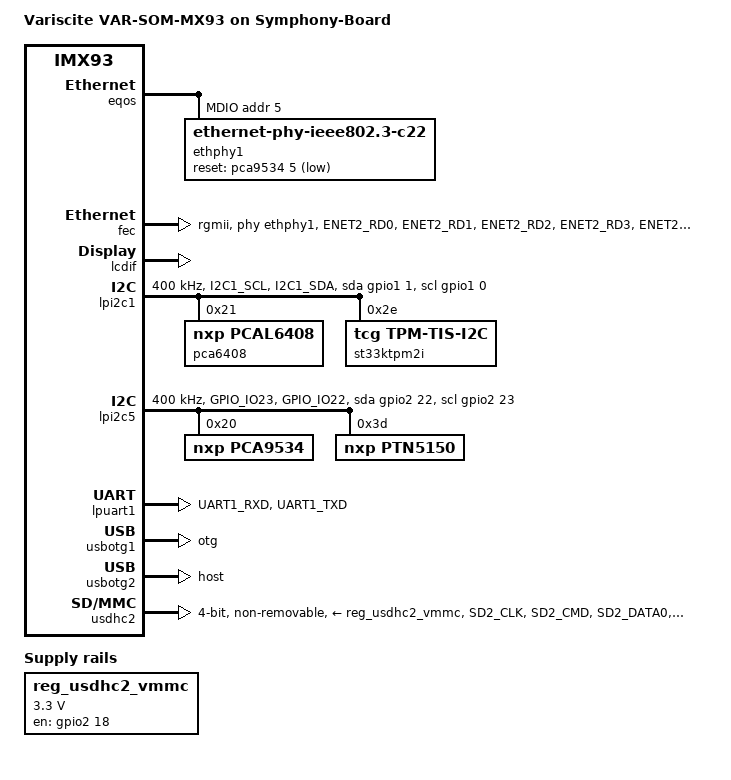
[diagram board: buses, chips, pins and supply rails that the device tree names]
// SPDX-License-Identifier: (GPL-2.0+ OR MIT)
// ^^^^^^^^^^^^^^^^^^^^^^^^^^^^^^^^^^^^^^^^^^^^
// This is a SPDX (Software Package Data Exchange) license identifier.
// It's a machine-readable shorthand telling tools and lawyers:
//   "This file is dual-licensed under GPL-2.0+ OR MIT"
// It's NOT C code - it's a comment used by license scanners (e.g., REUSE, FOSSology).
// In DTS files (like in C), // means single-line comment.

// .dtsi (Device Tree Source Include)
//The "i" stands for Include. These files describe the common, 
// immutable hardware blocks that are shared across many different designs.
// Who writes it: Usually the silicon vendor (like NXP or TI) or the System-on-Module (SoM) manufacturer.
// What it contains: The internal architecture of a System-on-Chip (SoC). 
// It maps out the CPU cores, the base memory addresses, the internal interrupt controllers, 
// and all the built-in peripheral controllers (I2C, SPI, UART, GPIO banks).
// tate: By default, external-facing peripherals inside a .dtsi are usually marked with status = "disabled";
// because the SoC manufacturer doesn't know if your specific board will actually wire anything up to those pins.

// .dts: (Device Tree Source)
// This is the top-level file. It represents the final, physical board sitting on your desk.
// Who writes it: The hardware board designer or the embedded software engineer bringing up the custom carrier board.
// State: It overrides the .dtsi nodes, flipping the required peripherals to status = "okay";.


/*
 * Copyright 2021 NXP
 * Copyright 2023-2025 Variscite Ltd.
 */
// This is a block comment, just like in C: /* ... */
// It says who wrote (and legally owns) this file.
// NXP wrote the base platform DTS; Variscite extended it for their SOM + Symphony board.

/dts-v1/;
// ^^^^^^^^
// DTS MAGIC HEADER. This tells the Device Tree Compiler (dtc) that this file uses
// Device Tree Source format version 1.
// Think of it like a #pragma or file-format signature at the top of a C file.
// Without this, dtc refuses to compile the file.
// The semicolon at the end is REQUIRED — DTS is semicolon-terminated like C statements.

#include "imx93-var-som.dtsi"
// ^^^^^^^^^^^^^^^^^^^^^^^^^^^^
// Just like #include in C, this pulls in another file at this exact location.
// The .dtsi extension = "Device Tree Source Include" (like a .h header file in C).
// "imx93-var-som.dtsi" defines all the hardware that lives ON the SOM itself
// (the Variscite module): CPU, RAM, eMMC, Wi-Fi, PMIC, etc.
// This file EXTENDS that by adding what's on the Symphony carrier BOARD.
// This is the "board file" — it adds connectors, extra Ethernet, USB, SD card, etc.

/ {
// ^
// This opens the ROOT NODE of the device tree.
// In DTS syntax, nodes are written like structs in C: name { properties; child-nodes; }
// The "/" node is the top of the tree — everything else is a child of this.
// Think of it like the "main()" of the device tree — it's the entry point.

	model = "Variscite VAR-SOM-MX93 on Symphony-Board";
	// ^^^^^^^^^^^^^^^^^^^^^^^^^^^^^^^^^^^^^^^^^^^^^^^^^^
	// "model" is a standard DT property (key = value).
	// The "=" assigns a string value (in quotes) to the property name.
	// The semicolon ends this statement — just like in C.
	// This human-readable string shows up in: /proc/device-tree/model on the running Linux system.
	// It's how you know which board you're running on at runtime.
	// It has NO effect on hardware — it's purely informational / for logging.

	aliases {
	// ^^^^^^^
	// The "aliases" node is a STANDARD device tree node (defined by the DT spec).
	// It allows giving short names to other nodes in the tree.
	// Think of it like a #define or a pointer shortcut in C.

		ethernet1 = &fec;
		// ^^^^^^^^^^^^^^^^
		// This creates an alias: the name "ethernet1" now refers to the node &fec.
		//
		// THE & OPERATOR — super important to understand:
		// In C, & means "address of" (gives you a pointer to a variable).
		// In DTS, & means "reference to a node by its label".
		//
		// "fec" is a LABEL defined somewhere in the include files (imx93-var-som.dtsi
		// or NXP's SoC DTS). A label looks like:   fec: ethernet@... { ... };
		// The &fec here is a PHANDLE — a numeric reference to that node.
		// The kernel resolves this at boot time to find the actual hardware node.
		//
		// Why "ethernet1"? Because ethernet0 is already the eQOS controller
		// (on the SOM). This second Ethernet (FEC controller) becomes eth1 in Linux.
		// The kernel uses aliases[] to name network interfaces eth0, eth1, etc.
	};

	chosen {
	// ^^^^^^^
	// Another standard DT node. "chosen" passes information FROM the bootloader
	// (U-Boot) TO the Linux kernel at boot time.
	// It's like argv[] in C main() — passing arguments to the program being launched.

		stdout-path = &lpuart1;
		// ^^^^^^^^^^^^^^^^^^^^^^
		// Tells the kernel: "send your early boot console output to lpuart1".
		// lpuart1 = Low Power UART 1 on the i.MX93. This is the debug serial port
		// (what you see on the USB-to-serial connector of the Symphony board).
		// &lpuart1 is again a phandle — a reference to the lpuart1 node elsewhere.
		// Without this, the kernel won't print anything during boot.
		// In C terms: this is like setting stdout = uart1_file_handle;
	};

	reg_usdhc2_vmmc: regulator-usdhc2 {
	// ^^^^^^^^^^^^^^^^^^^^^^^^^^^^^^^^^^^
	// This defines a NEW node for a "fixed voltage regulator".
	// Breaking down the syntax:
	//   reg_usdhc2_vmmc   = the LABEL for this node (used with & elsewhere)
	//   :                  = separates label from node name (DTS syntax)
	//   regulator-usdhc2  = the NODE NAME (must match the compatible string pattern)
	//   { ... }           = the node's body, containing properties
	//
	// A "regulator" in Linux/DT means a voltage rail — a power supply rail.
	// This one controls the 3.3V supply to the SD card slot (USDHC2 = SD card controller 2).
	// In hardware: it's a GPIO-controlled power switch (a transistor or load switch).
	// When GPIO is asserted HIGH, the SD card gets 3.3V. When LOW, card is powered off.

		compatible = "regulator-fixed";
		// ^^^^^^^^^^^^^^^^^^^^^^^^^^^^^^^
		// "compatible" is THE most important DT property.
		// It tells the kernel WHICH DRIVER to bind to this node.
		// The kernel searches its driver table for a driver that matches this string.
		// "regulator-fixed" = a built-in Linux driver for simple fixed-voltage regulators
		// controlled by a GPIO.
		// In C terms: think of compatible as the "class name" for polymorphism —
		// it determines which vtable (set of function pointers) gets used.

		pinctrl-names = "default";
		// ^^^^^^^^^^^^^^^^^^^^^^^^^^
		// This names the pin control states for this node.
		// "default" = the state used during normal operation.
		// This is a STRING ARRAY (list of strings). Here there's only one state.
		// Other nodes might have: "default", "sleep", "gpio" — three states.
		// Each named state maps to a pinctrl-N property below.

		pinctrl-0 = <&pinctrl_reg_usdhc2_vmmc>;
		// ^^^^^^^^^^^^^^^^^^^^^^^^^^^^^^^^^^^^^^^
		// pinctrl-0 corresponds to pinctrl-names[0] = "default".
		// The value <&pinctrl_reg_usdhc2_vmmc> is a PHANDLE CELL.
		//
		// THE < > SYNTAX:
		// In DTS, < > creates a "cell array" — a list of 32-bit integers.
		// <5> = a single integer 5.
		// <1 2 3> = three integers.
		// <&foo> = a phandle (reference to another node, resolved to a number).
		//
		// So <&pinctrl_reg_usdhc2_vmmc> means:
		// "store the phandle integer of the pinctrl_reg_usdhc2_vmmc node here"
		// At boot, the pinctrl driver reads this and configures the GPIO18 pin
		// (as defined in the pinctrl_reg_usdhc2_vmmc group further down in this file).
		// The dtc compiler looks at the pinctrl_reg_usdhc2_vmmc node,
		// assigns it a random unique ID (phandle, pointer handle) (e.g., 0x0000004A), 
		// and replaces your syntax so the compiled binary essentially reads:pinctrl-0 = <0x0000004A>;
		// Here is how the kernel bridges the gap between the phandle and the physical hardware during boot:
		// The Link: the regulator driver sees pinctrl-0 = <0x0000004A>.
        // The Lookup: The kernel searches its internal Device Tree database for node 0x0000004A.
        // The Data Extraction: It finds the node and reads the data inside it, which translates to: 
		// "We need to configure GPIO18."
        // The Hardware Action: The kernel's pin controller driver takes that data, 
		// calculates the actual physical silicon address for GPIO18 (e.g., 0x30200000), 
		// and writes a binary value (like 0x5) directly into that SoC register to change the pin's electrical state.


		regulator-name = "VSD_3V3";
		// ^^^^^^^^^^^^^^^^^^^^^^^^^^^
		// Human-readable name for this regulator.
		// Shows up in: /sys/class/regulator/*/name on the running system.
		// "VSD" = Voltage SD. "3V3" = 3.3 Volts. Pure informational.

		regulator-min-microvolt = <3300000>;
		// ^^^^^^^^^^^^^^^^^^^^^^^^^^^^^^^^^^^
		// Minimum voltage this regulator can supply, in MICROVOLTS.
		// 3300000 µV = 3.3V.
		// For a fixed regulator, min == max (it can only do one voltage).
		// The < > again wraps a 32-bit integer cell.

		regulator-max-microvolt = <3300000>;
		// Same as above. max == min = 3.3V. Fixed. No adjustment possible.

		gpio = <&gpio2 18 GPIO_ACTIVE_HIGH>;
		// ^^^^^^^^^^^^^^^^^^^^^^^^^^^^^^^^^^^
		// This specifies WHICH GPIO pin controls this regulator's enable signal.
		// The < > contains THREE values (a tuple):
		//   &gpio2            = phandle to the GPIO controller node (GPIO bank 2)
		//   18                = pin number within that GPIO bank (GPIO2_IO18)
		//   GPIO_ACTIVE_HIGH  = polarity — assert the pin HIGH to enable the regulator
		//
		// GPIO_ACTIVE_HIGH is a MACRO (defined in <dt-bindings/gpio/gpio.h>).
		// It expands to the integer 0.
		// GPIO_ACTIVE_LOW would be 1.
		// So in raw integers: <&gpio2 18 0> means the same thing.
		// When the regulator driver wants to turn on the SD card power,
		// it calls gpio_set_value(GPIO2_IO18, 1) — drives the pin HIGH.

		startup-delay-us = <10000>;
		// ^^^^^^^^^^^^^^^^^^^^^^^^^
		// After the GPIO is asserted, wait this many MICROSECONDS before
		// telling the kernel the regulator is stable/ready.
		// 10000 µs = 10 ms. This gives the voltage rail time to rise and settle.
		// Capacitors on the board need time to charge up to 3.3V.
		// If you skip this, the SD card might get probed before power is stable → errors.

		enable-active-high;
		// ^^^^^^^^^^^^^^^^^^
		// This is a BOOLEAN PROPERTY — it has no value, just presence means TRUE.
		// In DTS, a property with no = value is boolean (like a flag or a #define).
		// "enable-active-high" = driving the GPIO HIGH enables the regulator.
		// This works together with the GPIO_ACTIVE_HIGH above.
		// In C: it's like #define ENABLE_ACTIVE_HIGH  (defined vs undefined).
	};
};
// ^ closes the root node /{ }

&eqos {
// ^^^^^^
// THE & OPERATOR AGAIN — this time used at the TOP LEVEL to MODIFY an existing node.
// &eqos means: "find the node with label 'eqos' (defined in the included .dtsi files)
// and ADD or OVERRIDE properties in it."
//
// eQOS = Ethernet Quality of Service — this is the FIRST Ethernet controller
// on the i.MX93, which lives on the SOM itself (connected to the SOM's PHY).
// We're reaching INTO the existing node to add the second PHY definition.
//
// In C terms: it's like having a struct defined in a header, and then in your .c file
// you initialize some fields you left unset: my_struct.new_field = value;
// You're not redefining the struct — you're augmenting it.

	mdio {
	// ^^^^^
	// "mdio" is a CHILD NODE of eqos.
	// MDIO = Management Data Input/Output — a serial bus used to configure
	// Ethernet PHY chips (the physical layer transceivers).
	// Think of MDIO as I2C but for Ethernet PHYs — it has a clock and data line.
	// The mdio node is the bus; the ethernet-phy node below is a device on that bus.

		ethphy1: ethernet-phy@5 {
		// ^^^^^^^^^^^^^^^^^^^^^^^^^
		// ethphy1    = LABEL (used with &ethphy1 elsewhere)
		// ethernet-phy = node name (generic DT name for PHY nodes)
		// @5         = UNIT ADDRESS — the PHY's address on the MDIO bus (0-31)
		// So this PHY responds at MDIO address 5.
		// In C: it's like naming a struct at a specific memory address.
		// The "@addr" convention appears on ALL addressable DT nodes.

			compatible = "ethernet-phy-ieee802.3-c22";
			// ^^^^^^^^^^^^^^^^^^^^^^^^^^^^^^^^^^^^^^^^^
			// This PHY is IEEE 802.3 clause 22 compliant.
			// Clause 22 = the original 1000BASE-T PHY register map (32 registers, 16-bit).
			// Tells the kernel to use the generic PHY driver (phy-generic.c).
			// Some PHYs use clause 45 (10G+); those have a different compatible string.

			device_type = "ethernet-phy";
			// ^^^^^^^^^^^^^^^^^^^^^^^^^^^^^
			// Legacy property (older DTs used device_type extensively).
			// Tells the kernel this is an Ethernet PHY. Mostly redundant now
			// since compatible already tells you, but some drivers still check it.

			reg = <5>;
			// ^^^^^^^^^
			// reg = the ADDRESS of this device on its parent bus.
			// For MDIO: this is the PHY address (0–31). Here it's 5.
			// This MUST match the @5 in the node name above. If they don't match,
			// dtc will warn you.
			// For memory-mapped peripherals, reg = <base_address size>.
			// For I2C: reg = <i2c_7bit_address>.
			// The meaning depends on the parent bus type.

			at803x,eee-disabled;
			// ^^^^^^^^^^^^^^^^^^^^
			// Vendor-specific boolean property for the AT803x PHY family.
			// "eee-disabled" = disable Energy Efficient Ethernet (EEE / IEEE 802.3az).
			// EEE lets the PHY go into low-power mode during idle periods.
			// It's disabled here — possibly due to interoperability issues.
			// The "at803x," prefix is a vendor namespace (Atheros/QCA makes AT803x chips).
			// Wait — but the PHY below is MxL8611x... The at803x properties might be
			// present for compatibility or because this PHY also accepts those properties.

			eee-broken-1000t;
			// ^^^^^^^^^^^^^^^^^
			// Boolean property. Tells the kernel: "EEE doesn't work correctly at 1Gbit/s
			// on this PHY." The kernel will disable EEE negotiation for 1000BASE-T.
			// These "broken" flags are common for PHYs with silicon bugs or
			// non-standard behavior. Better to document in DT than hardcode in driver.

			reset-gpios = <&pca9534 5 GPIO_ACTIVE_LOW>;
			// ^^^^^^^^^^^^^^^^^^^^^^^^^^^^^^^^^^^^^^^^^^^
			// Specifies the GPIO that controls the PHY's hardware reset pin.
			// Tuple of THREE values (same pattern as the regulator gpio above):
			//   &pca9534       = phandle to PCA9534 — an I2C GPIO expander chip
			//                    (it gives you 8 extra GPIO pins over I2C)
			//   5              = pin 5 of the PCA9534
			//   GPIO_ACTIVE_LOW = drive LOW to assert reset (reset = active low)
			//
			// GPIO_ACTIVE_LOW = 1 (the macro value).
			// So this says: "to reset the PHY, drive PCA9534 pin 5 LOW."
			// The PHY datasheet says its nRESET pin is active-low (requires a logic 0
			// to trigger reset), hence GPIO_ACTIVE_LOW.

			reset-assert-us = <15000>;
			// ^^^^^^^^^^^^^^^^^^^^^^^^
			// Hold the reset signal asserted (LOW) for at least 15000 µs = 15 ms.
			// This is the minimum reset pulse width from the PHY datasheet.
			// The Linux PHY reset framework uses this to know how long to hold reset.

			reset-deassert-us = <100000>;
			// ^^^^^^^^^^^^^^^^^^^^^^^^^^
			// After releasing reset (driving HIGH), wait 100000 µs = 100 ms
			// before trying to communicate with the PHY over MDIO.
			// This is the PHY's "reset recovery time" — it needs time to initialize
			// its internal state machine after coming out of reset.

			mxl-8611x,led0_cfg = <(
			// ^^^^^^^^^^^^^^^^^^^^^
			// Vendor-specific property for the MaxLinear MxL8611x PHY.
			// "mxl-8611x," = vendor namespace (MaxLinear).
			// "led0_cfg" = configuration for LED pin 0 on the PHY.
			// The value is a 32-bit integer built by ORing flags together.
			//
			// THE ( ) INSIDE < >:
			// In DTS, you can write arithmetic expressions inside <( )>.
			// The ( ) tells the compiler: "evaluate this expression as a single integer."
			// The | operator is BITWISE OR — same as in C.
			// So <(A | B | C)> means: compute A|B|C and store as one 32-bit cell.

				MXL8611X_LEDX_CFG_LINK_UP_RX_ACT_ON |
				// ^^^^^^^^^^^^^^^^^^^^^^^^^^^^^^^^^^^^
				// Macro defined in a DT bindings header file.
				// Meaning: "turn LED0 ON when there is RX activity (receiving data)"
				// These macros are defined in:
				//   include/dt-bindings/net/mxl-8611x.h
				// They are just integer constants with specific bit positions.

				MXL8611X_LEDX_CFG_LINK_UP_TX_ACT_ON |
				// Meaning: "turn LED0 ON when there is TX activity (transmitting data)"

				MXL8611X_LEDX_CFG_TRAFFIC_ACT_BLINK_IND
				// Meaning: "blink LED0 to indicate traffic activity"
				// Combined: LED0 = activity LED (blinks on TX/RX traffic)
			)>;
			// )> closes the expression and the cell list.

			mxl-8611x,led1_cfg = <(
				MXL8611X_LEDX_CFG_LINK_UP_10MB_ON |
				// LED1 ON when link is up at 10 Mbit/s
				MXL8611X_LEDX_CFG_LINK_UP_100MB_ON |
				// LED1 ON when link is up at 100 Mbit/s
				MXL8611X_LEDX_CFG_LINK_UP_1GB_ON
				// LED1 ON when link is up at 1 Gbit/s
				// Combined: LED1 = link LED (solid when ANY speed link is up)
			)>;
		};
	};
};

&fec {
// ^^^^^
// Augmenting the FEC (Fast Ethernet Controller) node.
// FEC = the SECOND Ethernet controller on i.MX93 (legacy name from older i.MX chips).
// This becomes eth1 in Linux (eth0 is eQOS).
// The actual node is defined in the NXP SoC DTS file (imx93.dtsi).
// Here we're configuring it for the Symphony board's second Ethernet port.

	pinctrl-names = "default";
	// Only one pin state needed for Ethernet.

	pinctrl-0 = <&pinctrl_fec>;
	// Reference to the pinctrl group defined below in the &iomuxc section.
	// This tells the pinctrl driver: "configure these pins when FEC is active."

	phy-mode = "rgmii";
	// ^^^^^^^^^^^^^^^^^
	// How the MAC (Media Access Controller) connects to the PHY chip.
	// "rgmii" = Reduced Gigabit Media Independent Interface.
	// RGMII uses 4-bit data buses (instead of MII's 8-bit) and is clocked at 125MHz
	// for Gigabit. The i.MX93 FEC <-> MxL8611x PHY are wired as RGMII.
	// Other options: "mii", "rmii", "sgmii", "2500base-x", etc.

	phy-handle = <&ethphy1>;
	// ^^^^^^^^^^^^^^^^^^^^^^
	// Links the MAC (FEC controller) to its PHY (ethphy1 defined above in eqos mdio).
	// &ethphy1 = phandle to the ethernet-phy@5 node.
	// Wait — why is the PHY under eqos mdio but the FEC is using it?
	// On i.MX93, the MDIO bus is physically part of the eQOS controller block,
	// but the MDIO bus can be shared — fec uses eqos's MDIO to reach ethphy1.
	// The phy-handle links them logically.

	status = "okay";
	// ^^^^^^^^^^^^^^
	// THE MOST IMPORTANT BOOLEAN-LIKE PROPERTY in DTS.
	// status = "okay"    → enable this peripheral (tell kernel to use it)
	// status = "disabled" → disable it (kernel ignores it, no driver bound)
	//
	// In the SoC DTS (NXP's file), most peripherals are set to "disabled" by default.
	// Board files (like this one) set status = "okay" for the ones they actually use.
	// It's like a master switch. If you forget this, the peripheral won't work
	// even if everything else is configured correctly.
};

&iomuxc {
// ^^^^^^^^
// IOMUXC = I/O Multiplexer Controller — the pin mux hardware on i.MX93.
// Every physical pin on the SoC can be configured as one of many functions
// (GPIO, UART, I2C, SPI, Ethernet, USB, etc.) — this is called pin multiplexing.
// The IOMUXC block controls which function each pin has AND its electrical properties
// (pull-up/down, drive strength, slew rate, Schmitt trigger, etc.).
//
// We're augmenting the iomuxc node to add our board-specific pin groups.

	pinctrl_fec: fecgrp {
	// ^^^^^^^^^^^^^^^^^^^
	// pinctrl_fec = label (used with &pinctrl_fec)
	// fecgrp      = node name (arbitrary, but convention is <name>grp)
	// This defines a PIN GROUP — a set of pins and their configurations
	// that are applied together as a unit.

		fsl,pins = <
		// ^^^^^^^^^
		// "fsl,pins" = Freescale (NXP) vendor property for pin configuration.
		// The < > contains pairs of values for each pin:
		//   MACRO   CONFIG_VALUE
		// Each pin takes TWO 32-bit integers = a 64-bit entry.
		// So the entire list is N*2 cells.

			MX93_PAD_ENET2_RD0__ENET1_RGMII_RD0		0x57e
			// ^^^^^^^^^^^^^^^^^^^^^^^^^^^^^^^^^^^^^^^^^^^^^^^^^^
			// LEFT SIDE: MX93_PAD_ENET2_RD0__ENET1_RGMII_RD0
			// This is a MACRO from NXP's header file:
			//   arch/arm64/boot/dts/freescale/imx93-pinfunc.h
			// The naming convention is:
			//   MX93_PAD_<PHYSICAL_PAD_NAME>__<FUNCTION_NAME>
			// So: physical pad ENET2_RD0 is muxed to function ENET1_RGMII_RD0.
			// The macro expands to TWO integers: (mux_register_offset | mux_mode_value)
			// The iomuxc driver writes these to configure the pin function.
			//
			// Wait — ENET2 pad but ENET1 function? Yes! On i.MX93, the second
			// Ethernet PHY uses ENET2 pads but routes to the FEC (ENET1 in Linux).
			// The naming is hardware-centric (pad name) vs software-centric (function).
			//
			// RIGHT SIDE: 0x57e
			// This is the PIN CONFIGURATION VALUE — packed bit fields:
			// Bit fields (i.MX93 specific, defined in the TRM):
			//   [0:2]   = DSE  (Drive Strength Enable) — how strong the output driver is
			//   [3]     = FSEL (Slew Rate) — how fast the signal edge transitions
			//   [4]     = ODE  (Open Drain Enable) — for I2C-style wired-AND buses
			//   [5]     = PUE  (Pull Up/Down Enable)
			//   [6]     = PUS  (Pull Up/Down Select — 0=pull-down, 1=pull-up)
			//   [7]     = HYS  (Schmitt trigger / Hysteresis)
			//   [12]    = SION (Software Input On — forces input path active even in output mode)
			//
			// 0x57e in binary: 0101 0111 1110
			// Let me decode: ...0x57e = bits 1,2,3,4,5,6,8,10 set
			// Translation: strong drive, fast slew, pull-up enabled, hysteresis on.
			// This makes sense for RGMII data pins running at 125MHz.

			MX93_PAD_ENET2_RD1__ENET1_RGMII_RD1		0x57e
			MX93_PAD_ENET2_RD2__ENET1_RGMII_RD2		0x57e
			MX93_PAD_ENET2_RD3__ENET1_RGMII_RD3		0x57e
			// ^^^ RD0-RD3 = RGMII Receive Data bits 0-3 (4-bit data bus, RX direction)

			MX93_PAD_ENET2_RXC__ENET1_RGMII_RXC		0x5fe
			// RXC = Receive Clock. Note the different config value: 0x5fe vs 0x57e.
			// 0x5fe = 0101 1111 1110 — the clock pin gets slightly different settings
			// (stronger drive, different slew) because clocks have timing requirements.

			MX93_PAD_ENET2_RX_CTL__ENET1_RGMII_RX_CTL	0x57e
			// RX_CTL = Receive Control (combines RX_DV and RX_ER in RGMII).

			MX93_PAD_ENET2_TD0__ENET1_RGMII_TD0		0x57e
			MX93_PAD_ENET2_TD1__ENET1_RGMII_TD1		0x57e
			MX93_PAD_ENET2_TD2__ENET1_RGMII_TD2		0x57e
			MX93_PAD_ENET2_TD3__ENET1_RGMII_TD3		0x57e
			// TD0-TD3 = Transmit Data bits 0-3 (TX direction)

			MX93_PAD_ENET2_TXC__ENET1_RGMII_TXC		0x5fe
			// TXC = Transmit Clock (output from MAC to PHY). 0x5fe again (clock pin).

			MX93_PAD_ENET2_TX_CTL__ENET1_RGMII_TX_CTL	0x57e
			// TX_CTL = Transmit Control (TX_EN and TX_ER combined in RGMII).
		>;
		// > closes the cell list for fsl,pins.
	};

	pinctrl_lpi2c1_gpio: lpi2c1grp-gpio {
	// ^^^^^^^^^^^^^^^^^^^^^^^^^^^^^^^^^^^^^
	// A SECOND pin group for the SAME I2C1 pins — but configured as GPIO.
	// Why? Because Linux has a feature called "I2C GPIO recovery":
	// if an I2C slave holds the SDA line low and freezes the bus,
	// the master can bit-bang SCL/SDA manually as GPIO pins to send extra clocks
	// and unstick the slave.
	// So the I2C pins are defined TWICE:
	//   lpi2c1grp     = normal I2C function (LPI2C1_SCL, LPI2C1_SDA)
	//   lpi2c1grp-gpio = same pins but configured as GPIO (GPIO1_IO00, GPIO1_IO01)
	// The kernel switches between these states via pinctrl-0, pinctrl-1, pinctrl-2.

		fsl,pins = <
			MX93_PAD_I2C1_SCL__GPIO1_IO00			0x31e
			// Physical pad I2C1_SCL, configured as GPIO1_IO00.
			// 0x31e = different config — GPIO pins get different drive/pull settings.

			MX93_PAD_I2C1_SDA__GPIO1_IO01			0x31e
			// Physical pad I2C1_SDA, configured as GPIO1_IO01.
		>;
	};

	pinctrl_lpi2c1: lpi2c1grp {
	// ^^^^^^^^^^^^^^^^^^^^^^^^^^^
	// Normal I2C1 pin configuration.

		fsl,pins = <
			MX93_PAD_I2C1_SCL__LPI2C1_SCL			0x40000b9e
			// 0x40000b9e — note the VERY different config value!
			// 0x40000000 = bit 30 set = SION (Software Input On).
			// SION forces the input path active even when the pin is in output mode.
			// For I2C, this is REQUIRED — the master must be able to read back SDA/SCL
			// to detect bus collisions and do clock stretching.
			// ERR052021 (an NXP errata) requires SION on I2C pins on i.MX93.
			// The lower bits 0xb9e configure pull-up, drive strength, open-drain for I2C.

			MX93_PAD_I2C1_SDA__LPI2C1_SDA			0x40000b9e
		>;
	};

	pinctrl_lpi2c5: lpi2c5grp {
	// ^^^^^^^^^^^^^^^^^^^^^^^^^^^
	// Pin configuration for I2C5 (second I2C bus on the Symphony board).
	// Uses GPIO_IO23 and GPIO_IO22 pads (general-purpose pads muxed as I2C5).

		fsl,pins = <
			MX93_PAD_GPIO_IO23__LPI2C5_SCL			0x40000b9e
			MX93_PAD_GPIO_IO22__LPI2C5_SDA			0x40000b9e
		>;
	};

	pinctrl_lpi2c5_gpio: lpi2c5grp-gpio {
	// Same pattern as lpi2c1 — GPIO recovery mode for I2C5 bus.

		fsl,pins = <
			MX93_PAD_GPIO_IO23__GPIO2_IO23			0x31e
			MX93_PAD_GPIO_IO22__GPIO2_IO22			0x31e
		>;
	};

	pinctrl_reg_usdhc2_vmmc: regusdhc2vmmcgrp {
	// ^^^^^^^^^^^^^^^^^^^^^^^^^^^^^^^^^^^^^^^^^^
	// Pin config for the GPIO that controls SD card power (the regulator we defined above).
	// Only ONE pin needed — the GPIO that drives the power switch.

		fsl,pins = <
			MX93_PAD_GPIO_IO18__GPIO2_IO18			0x31e
			// GPIO_IO18 pad configured as GPIO2_IO18.
			// This is what the reg_usdhc2_vmmc node uses to switch 3.3V to SD card.
		>;
	};

	pinctrl_uart1: uart1grp {
	// ^^^^^^^^^^^^^^^^^^^^^^^^^
	// Pin config for UART1 (the debug serial console).

		fsl,pins = <
			MX93_PAD_UART1_RXD__LPUART1_RX			0x31e
			// UART1_RXD pad → LPUART1 receive data function.
			// 0x31e = input pin config (pull, hysteresis, no strong drive needed for RX).

			MX93_PAD_UART1_TXD__LPUART1_TX			0x31e
			// UART1_TXD pad → LPUART1 transmit data function.
		>;
	};

	/* need to config the SION for data and cmd pad, refer to ERR052021 */
	// ^^^^^^^^^^^^^^^^^^^^^^^^^^^^^^^^^^^^^^^^^^^^^^^^^^^^^^^^^^^^^^^^^^^
	// Block comment (/* */) referencing NXP Errata ERR052021.
	// That errata says: on i.MX93, SD/MMC CMD and DATA pads MUST have SION bit set
	// (bit 30 of the config, = 0x40000000) to work correctly at high speeds.
	// This is a silicon bug workaround.

	pinctrl_usdhc2: usdhc2grp {
	// ^^^^^^^^^^^^^^^^^^^^^^^^^^
	// Pin config for SD card (uSDHC2 controller) at DEFAULT (low) speed.

		fsl,pins = <
			MX93_PAD_SD2_CLK__USDHC2_CLK		0x1582
			// SD clock pin. 0x1582 = no SION (clock is output only, no readback needed).
			// The hex value programs: drive strength, slew rate for clock output.

			MX93_PAD_SD2_CMD__USDHC2_CMD		0x40001382
			// CMD pin: 0x40001382 — note 0x40000000 = SION bit set (ERR052021 workaround).
			// CMD is bidirectional (host sends commands, card sends responses on same line).
			// SION required so the host can read back what it sends.

			MX93_PAD_SD2_DATA0__USDHC2_DATA0	0x40001382
			MX93_PAD_SD2_DATA1__USDHC2_DATA1	0x40001382
			MX93_PAD_SD2_DATA2__USDHC2_DATA2	0x40001382
			MX93_PAD_SD2_DATA3__USDHC2_DATA3	0x40001382
			// DATA0-3: 4-bit SD bus data lines. All need SION (bidirectional).
			// SD uses 4 data lines for normal speed (1-bit at very low speed).

			MX93_PAD_SD2_VSELECT__USDHC2_VSELECT	0x51e
			// VSELECT = Voltage Select pin.
			// Controls whether the SD bus I/O runs at 3.3V (VSELECT=0) or 1.8V (VSELECT=1).
			// UHS-I SD cards run at 1.8V for high speeds. This pin switches the I/O voltage.
			// 0x51e = output-only config (no SION, just drive strength + pull).
		>;
	};

	/* need to config the SION for data and cmd pad, refer to ERR052021 */
	pinctrl_usdhc2_100mhz: usdhc2-100mhzgrp {
	// ^^^^^^^^^^^^^^^^^^^^^^^^^^^^^^^^^^^^^^^^^
	// Same pins as above BUT with different config values for 100MHz operation (SDR50 mode).
	// Faster speeds need stronger drive strength and different slew rates.
	// Linux automatically switches to this pinctrl state when the SD card negotiates 100MHz.

		fsl,pins = <
			MX93_PAD_SD2_CLK__USDHC2_CLK		0x158e
			// 0x158e vs 0x1582 — slightly stronger drive for 100MHz.
			MX93_PAD_SD2_CMD__USDHC2_CMD		0x4000138e
			MX93_PAD_SD2_DATA0__USDHC2_DATA0	0x4000138e
			MX93_PAD_SD2_DATA1__USDHC2_DATA1	0x4000138e
			MX93_PAD_SD2_DATA2__USDHC2_DATA2	0x4000138e
			MX93_PAD_SD2_DATA3__USDHC2_DATA3	0x4000138e
			MX93_PAD_SD2_VSELECT__USDHC2_VSELECT	0x51e
		>;
	};

	/* need to config the SION for data and cmd pad, refer to ERR052021 */
	pinctrl_usdhc2_200mhz: usdhc2-200mhzgrp {
	// Same but for 200MHz (SDR104 / HS200 mode — UHS-I maximum speed).
	// Even stronger drive, fastest slew rate.

		fsl,pins = <
			MX93_PAD_SD2_CLK__USDHC2_CLK			0x15fe
			// 0x15fe — maximum drive strength + fastest slew for 200MHz clock.
			MX93_PAD_SD2_CMD__USDHC2_CMD		0x400013fe
			MX93_PAD_SD2_DATA0__USDHC2_DATA0	0x400013fe
			MX93_PAD_SD2_DATA1__USDHC2_DATA1	0x400013fe
			MX93_PAD_SD2_DATA2__USDHC2_DATA2	0x400013fe
			MX93_PAD_SD2_DATA3__USDHC2_DATA3	0x400013fe
			MX93_PAD_SD2_VSELECT__USDHC2_VSELECT		0x51e
		>;
	};
};
// ^ closes &iomuxc { }

&lcdif {
// ^^^^^^^
// Augmenting the LCDIF (LCD Interface) node — the display controller on i.MX93.
// LCDIF drives MIPI-DSI or LVDS display panels.

	status = "okay";
	// Enable the display controller.

	assigned-clock-rates = <484000000>, <121000000>, <400000000>, <133333333>;
	// ^^^^^^^^^^^^^^^^^^^^^^^^^^^^^^^^^^^^^^^^^^^^^^^^^^^^^^^^^^^^^^^^^^^^^^^^^^^
	// This sets the CLOCK FREQUENCIES for the LCDIF subsystem.
	// "assigned-clock-rates" works together with "assigned-clocks" (defined in the
	// SoC DTS) to configure the clock tree.
	// The < > list contains FOUR values, one per clock:
	//   484000000  = 484 MHz  (LCDIF pixel clock source, e.g., PLL)
	//   121000000  = 121 MHz  (LCDIF pixel clock after divider — for the display panel)
	//   400000000  = 400 MHz  (media PLL or bus clock)
	//   133333333  = ~133 MHz (another divider output)
	// These numbers are chosen to match the display panel's required pixel clock.
	// Getting this wrong = corrupted display, wrong refresh rate, or no display at all.
};

&lpi2c1 {
// ^^^^^^^^
// Augmenting the LPI2C1 (Low Power I2C bus 1) node.
// LPI2C = Low Power I2C — NXP's implementation of I2C with low-power features.
// This is the I2C bus that connects to on-board chips on the Symphony carrier board.

	#address-cells = <1>;
	// ^^^^^^^^^^^^^^^^^^^
	// #address-cells tells the kernel how many 32-bit integers make up the
	// "reg" (address) property in CHILD nodes.
	// <1> means child node addresses use ONE 32-bit cell.
	// For I2C: that one cell is the 7-bit I2C address (e.g., <0x21>).
	// For a memory bus it might be <2> (64-bit address = two 32-bit cells).
	// This is a BUS PROPERTY that the kernel uses to interpret child nodes correctly.

	#size-cells = <0>;
	// ^^^^^^^^^^^^^^^^^^
	// #size-cells = how many cells encode the SIZE in child node reg properties.
	// <0> means no size field — I2C devices don't have a "size" (they're just at an address).
	// For memory-mapped peripherals, this would be <1> (address + size).

	clock-frequency = <400000>;
	// ^^^^^^^^^^^^^^^^^^^^^^^^^^^
	// I2C bus speed in Hz. 400000 Hz = 400 kHz = Fast Mode I2C.
	// Standard Mode = 100 kHz, Fast Mode = 400 kHz, Fast Mode Plus = 1 MHz.
	// The LPI2C driver uses this to configure the clock divider registers.

	pinctrl-names = "default", "sleep", "gpio";
	// ^^^^^^^^^^^^^^^^^^^^^^^^^^^^^^^^^^^^^^^^^
	// THREE named states for this node's pins:
	//   "default" (index 0) → normal I2C operation
	//   "sleep"   (index 1) → low-power state (when system suspends)
	//   "gpio"    (index 2) → GPIO mode for bus recovery
	// Each name maps to a corresponding pinctrl-N property.

	pinctrl-0 = <&pinctrl_lpi2c1>;
	// State 0 ("default") → use the lpi2c1grp pin configuration (I2C function).
	pinctrl-1 = <&pinctrl_lpi2c1_gpio>;
	// State 1 ("sleep") → use GPIO config (pins tri-stated or configured safely for sleep).
	pinctrl-2 = <&pinctrl_lpi2c1_gpio>;
	// State 2 ("gpio") → same GPIO config (used for bit-bang recovery).

	scl-gpios = <&gpio1 0 GPIO_ACTIVE_HIGH>;
	// ^^^^^^^^^^^^^^^^^^^^^^^^^^^^^^^^^^^^^^^^
	// For GPIO-based I2C recovery: which GPIO drives SCL manually.
	// GPIO1_IO00 (same physical pin as I2C1_SCL, just controlled as GPIO).
	// Used when the kernel needs to bit-bang the clock line to recover a stuck bus.

	sda-gpios = <&gpio1 1 GPIO_ACTIVE_HIGH>;
	// Same for SDA: GPIO1_IO01 = I2C1_SDA physical pin, bit-banged as GPIO.

	status = "okay";
	// Enable this I2C bus.

	pca6408: gpio@21 {
	// ^^^^^^^^^^^^^^^^^
	// A CHILD NODE = a device on this I2C bus.
	// pca6408 = label
	// gpio    = node name (generic name for GPIO expander nodes)
	// @21     = I2C address 0x21 (in hex, without the 0x prefix in the @ part).
	// This is an NXP PCA6408 / TI TCA6408 — 8-bit I2C GPIO expander.
	// It gives 8 extra GPIO outputs over I2C (useful when the SoC runs out of GPIO pins).

		compatible = "nxp,pcal6408", "ti,tca6408";
		// ^^^^^^^^^^^^^^^^^^^^^^^^^^^^^^^^^^^^^^^^^^^
		// TWO compatible strings! The kernel tries them IN ORDER:
		//   1. Try "nxp,pcal6408" driver first (PCAL6408 has extra features)
		//   2. Fall back to "ti,tca6408" if the first driver isn't available
		// This is the DT fallback mechanism — useful for pin-compatible chips.
		// It's like a try-catch: try the best driver, fall back to generic.

		reg = <0x21>;
		// I2C address = 0x21 (must match @21 in the node name).

		gpio-controller;
		// ^^^^^^^^^^^^^^^
		// Boolean property — no value, just presence.
		// Declares: "this node IS a GPIO controller (provides GPIO pins to the system)."
		// Without this, the kernel won't register this chip as a GPIO provider.
		// Other nodes can then reference these GPIOs with &pca6408 (like we did for the PHY reset).

		#gpio-cells = <2>;
		// ^^^^^^^^^^^^^^^^^^
		// How many cells in a GPIO specifier from this controller.
		// <2> means: <pin_number  flags>
		// Example: <&pca6408 5 GPIO_ACTIVE_LOW> = pca6408, pin 5, active-low.
		// This is why all GPIO references need 2 numbers after the phandle.
		// (Some controllers use #gpio-cells = <1> for just a pin number.)

		rgb_sel {
		// ^^^^^^^^
		// A GPIO HOG node — a child of the GPIO controller that pre-configures
		// a GPIO pin at boot time without needing any driver to request it.
		// "hog" = the driver "hogs" (permanently occupies) this GPIO line.

			gpio-hog;
			// Boolean: marks this as a GPIO hog node.

			gpios = <7 GPIO_ACTIVE_HIGH>;
			// Pin 7 of pca6408, active-high.
			// Note: no &pca6408 here! That's because this node IS INSIDE pca6408's node.
			// The parent is implied.

			output-low;
			// Boolean: drive this GPIO LOW at boot (and keep it LOW).
			// output-high; would drive it HIGH.
			// input; would configure as input.

			line-name = "rgb_sel";
			// Human-readable name for this GPIO line.
			// Shows up in: gpioinfo (libgpiod tool) on the running system.
		};

		tpm_en {
		// ^^^^^^^
		// Another GPIO hog — this one for the TPM (Trusted Platform Module) enable/reset.

			gpio-hog;
			gpios = <4 GPIO_ACTIVE_HIGH>;
			// Pin 4 of pca6408.

			output-high;
			// Drive HIGH = deassert the TPM reset (take TPM out of reset state).
			// The comment says "Need to deassert the TPM2 reset signal."
			// At power-on, TPM might be held in reset; this releases it.

			line-name = "tpm_en";
		};
	};

	st33ktpm2i: st33ktpm2i@2e {
	// ^^^^^^^^^^^^^^^^^^^^^^^^^^^
	// An ST33 TPM (Trusted Platform Module) chip at I2C address 0x2E.
	// TPM = security chip that stores cryptographic keys, measures boot integrity, etc.
	// Used for secure boot, disk encryption (like a hardware keystore).

		compatible = "tcg,tpm-tis-i2c";
		// TPM Interface Specification (TIS) over I2C, standardized by TCG (Trusted Computing Group).
		// The kernel's tpm_tis_i2c driver handles this.

		reg = <0x2e>;
		// I2C address 0x2E.
	};
};

&lpi2c5 {
// ^^^^^^^^
// Second I2C bus — connects to the Symphony board's peripheral chips.

	#address-cells = <1>;
	#size-cells = <0>;
	clock-frequency = <400000>;
	// Same I2C configuration as lpi2c1 above.

	pinctrl-names = "default", "sleep", "gpio";
	pinctrl-0 = <&pinctrl_lpi2c5>;
	pinctrl-1 = <&pinctrl_lpi2c5_gpio>;
	pinctrl-2 = <&pinctrl_lpi2c5_gpio>;
	scl-gpios = <&gpio2 23 GPIO_ACTIVE_HIGH>;
	sda-gpios = <&gpio2 22 GPIO_ACTIVE_HIGH>;
	status = "okay";

	pca9534: gpio@20 {
	// ^^^^^^^^^^^^^^^^^^
	// NXP PCA9534 = another I2C GPIO expander, at address 0x20.
	// This one provides the GPIOs for: PHY reset, PHY power, PHY voltage select.

		status = "okay";
		compatible = "nxp,pca9534";
		reg = <0x20>;
		gpio-controller;
		#gpio-cells = <2>;

		eth1_phy_vsel_hog {
		// ^^^^^^^^^^^^^^^^^^
		// Controls the MxL8611x PHY's VDDIO voltage selection.
		// VDDIO = the I/O power supply for the PHY's digital pins.

			gpio-hog;
			gpio-hog-optional;
			// ^^^^^^^^^^^^^^^^
			// "optional" means: if requesting this GPIO fails (e.g., pin is already used),
			// don't crash — just skip it. Defensive programming in DT.

			gpios = <6 0>;
			// Pin 6 of pca9534. The "0" here = no flags (not GPIO_ACTIVE_LOW/HIGH macros,
			// just raw 0 = active-high by convention, same as GPIO_ACTIVE_HIGH = 0).

			output-high;
			// Drive high = select 3.3V operation for PHY I/O (vs 1.8V).

			line-name = "eth1_phy_vsel";
		};

		eth1_phy_pwr_hog {
		// ^^^^^^^^^^^^^^^^^
		// Controls power to the second Ethernet PHY.

			gpio-hog;
			gpio-hog-optional;
			gpios = <7 0>;
			output-high;
			// Drive high = enable power to the PHY (power it on).
			line-name = "eth1_phy_pwr";
		};
	};

	ptn5150: ptn5150@3d {
	// ^^^^^^^^^^^^^^^^^^^^^^
	// NXP PTN5150 = USB Type-C CC Logic controller at I2C address 0x3D.
	// CC (Configuration Channel) pins on USB-C determine:
	//   - Cable orientation (which way the plug is inserted)
	//   - Data role (host/device/DRP)
	//   - Power role (source/sink)
	// The PTN5150 monitors the CC pins and reports the state to the USB controller.

		compatible = "nxp,ptn5150";
		pinctrl-names = "default";
		reg = <0x3d>;

		i2c-bus = <0x4>;
		// ^^^^^^^^^^^^^^
		// Which I2C bus number this device is on (internal reference).
		// 0x4 = bus 4. Used by the driver to identify itself.
		// Note: this is a vendor-specific property for the PTN5150.

		status = "okay";
	};
};

&lpuart1 { /* console */
// ^^^^^^^^^^
// Augmenting LPUART1 — the debug UART (Low Power UART 1).
// The /* console */ comment is just documentation — this IS the Linux serial console.
// When you connect a USB-serial adapter to the Symphony board's debug port,
// this is what you see: U-Boot output, kernel boot messages, and the Linux login prompt.

	pinctrl-names = "default";
	pinctrl-0 = <&pinctrl_uart1>;
	// Apply the UART1 pin configuration (RXD + TXD pins).

	status = "okay";
	// Enable UART1.
	// Combined with chosen { stdout-path = &lpuart1; } above,
	// this is what makes printk() output appear on the serial port.
};

&usbotg1 {
// ^^^^^^^^^
// USB OTG1 = first USB controller on i.MX93.
// OTG = On-The-Go — can act as EITHER a host (connect peripherals) OR a device (connect to a PC).
// This is the USB-C port on the Symphony board.

	dr_mode = "otg";
	// ^^^^^^^^^^^^^^
	// "otg" = Dual Role Device mode. The controller can dynamically switch between
	// host and device mode based on what's connected (detected by PTN5150 CC logic).
	// Other options: "host" (always host), "peripheral" (always device).

	extcon = <&ptn5150>;
	// ^^^^^^^^^^^^^^^^^
	// extcon = External Connector — a framework for detecting connector events.
	// Links this USB controller to the PTN5150 CC controller.
	// When PTN5150 detects a USB-C plug and determines role (host/device),
	// it notifies the USB controller via the extcon framework.
	// The & is again a phandle reference to the ptn5150 node defined above.

	hnp-disable;
	// ^^^^^^^^^^
	// Disable HNP = Host Negotiation Protocol.
	// HNP is an OTG feature that lets roles swap mid-connection.
	// Disabled here — modern USB-C handles role negotiation via CC pins instead.

	srp-disable;
	// Disable SRP = Session Request Protocol (OTG power management feature). Not needed.

	adp-disable;
	// Disable ADP = Attach Detection Protocol (OTG power detection). Not needed.

	disable-over-current;
	// Boolean: don't enable over-current protection hardware.
	// Some boards don't have the over-current detect hardware wired.
	// This tells the driver not to check for an over-current signal.

	status = "okay";
};

&usbotg2 {
// USB OTG2 = second USB controller. Used as a plain USB HOST (e.g., for USB-A connector).

	dr_mode = "host";
	// Always in host mode — acts as a USB hub/host controller.
	// No OTG negotiation needed (it never becomes a device).

	hnp-disable;
	srp-disable;
	adp-disable;
	disable-over-current;
	status = "okay";
};

&usdhc2 {
// ^^^^^^^^
// uSDHC2 = Ultra Secured Digital Host Controller 2 = the SD card controller.
// This is what reads/writes the microSD card slot on the Symphony board.

	pinctrl-names = "default", "state_100mhz", "state_200mhz";
	// THREE pin states for different SD bus speeds:
	//   "default"     → slow speed (up to ~25 MHz, DS/HS mode)
	//   "state_100mhz" → 100 MHz (SDR50 / UHS-I)
	//   "state_200mhz" → 200 MHz (SDR104 / UHS-I maximum)
	// Linux switches between these automatically based on card capability.

	pinctrl-0 = <&pinctrl_usdhc2>;
	pinctrl-1 = <&pinctrl_usdhc2_100mhz>;
	pinctrl-2 = <&pinctrl_usdhc2_200mhz>;
	// Maps each named state to the corresponding pin group defined in &iomuxc above.

	non-removable;
	// ^^^^^^^^^^^^
	// Boolean: the SD card is NOT removable (it's soldered or permanently inserted).
	// Wait — but this is an SD CARD slot? Actually on this board, usdhc2 is connected
	// to the WiFi/BT module (which uses SDIO) OR an SD slot, depending on variant.
	// "non-removable" tells the kernel: don't poll for card insertion/removal events.
	// The kernel won't generate hotplug events for this slot.

	vmmc-supply = <&reg_usdhc2_vmmc>;
	// ^^^^^^^^^^^^^^^^^^^^^^^^^^^^^^^^^
	// Which regulator supplies VMMC — the main SD card power (3.3V).
	// &reg_usdhc2_vmmc = the regulator node we defined at the TOP of this file.
	// The uSDHC driver uses this to:
	//   - Power up the card before probing
	//   - Power down the card on system suspend
	//   - Sequence power correctly during voltage switching

	bus-width = <4>;
	// ^^^^^^^^^^^^^^^
	// SD bus width: 1, 4, or 8 data lines.
	// <4> = 4-bit bus (standard for SD cards and SDIO devices).
	// 8-bit is used for eMMC. 1-bit is legacy/fallback only.
	// We defined 4 data pins (DATA0-DATA3) in pinctrl — consistent with this.

	status = "okay";

	no-sdio;
	// ^^^^^^
	// Boolean: disable SDIO (SD I/O) card support on this slot.
	// SDIO is used for WiFi/BT cards that attach via SD interface.
	// Even though usdhc2 might physically connect to SDIO WiFi on some variants,
	// here it's configured purely for SD CARD (block storage).

	no-mmc;
	// ^^^^^^
	// Boolean: disable MMC (MultiMediaCard) support.
	// MMC is the protocol used by eMMC (embedded flash storage).
	// This slot is for SD cards only — not eMMC.
	// Combined with no-sdio: this controller handles ONLY standard SD memory cards.
};

/*
 * ============================================================
 * SUMMARY: DTS KEY CONCEPTS CHEAT SHEET
 * ============================================================
 *
 * SYNTAX THAT LOOKS LIKE C BUT IS DIFFERENT:
 *
 *   &name        → Phandle / reference to node with label "name"
 *                  In C: like a pointer to a struct instance
 *                  In DTS: used to REFERENCE or AUGMENT an existing node
 *
 *   <value>      → A cell (32-bit integer) in angle brackets
 *                  <5>         → integer 5
 *                  <&foo>      → phandle (resolved integer ID of node foo)
 *                  <&foo 3 0>  → phandle + two integers (e.g., GPIO specifier)
 *                  <(A | B)>   → expression evaluated to one integer
 *
 *   ;            → Terminates every property and node, just like in C
 *
 *   node-name { → Opens a node (like a struct)
 *   };           → Closes a node
 *
 *   label: name  → Assigns label to a node (label used with & for phandles)
 *
 *   property;    → Boolean property (presence = true, absence = false)
 *                  Like: #define FEATURE_ENABLED (no value)
 *
 *   property = "string";  → String property
 *   property = <int>;     → Integer cell property
 *   property = [hex];     → Byte array property
 *
 *   #address-cells / #size-cells → How to interpret child "reg" addresses
 *
 *   compatible   → Kernel driver binding (most important property!)
 *   reg          → Address on parent bus (I2C addr, memory base addr, etc.)
 *   status       → "okay" = enabled, "disabled" = kernel ignores this node
 *
 *   &node { }    → Augment/override an existing node defined elsewhere
 *                  Like patching a C struct that was defined in a header file
 *
 *   #include     → Textual file inclusion, exactly like C
 *
 * ============================================================
 */
